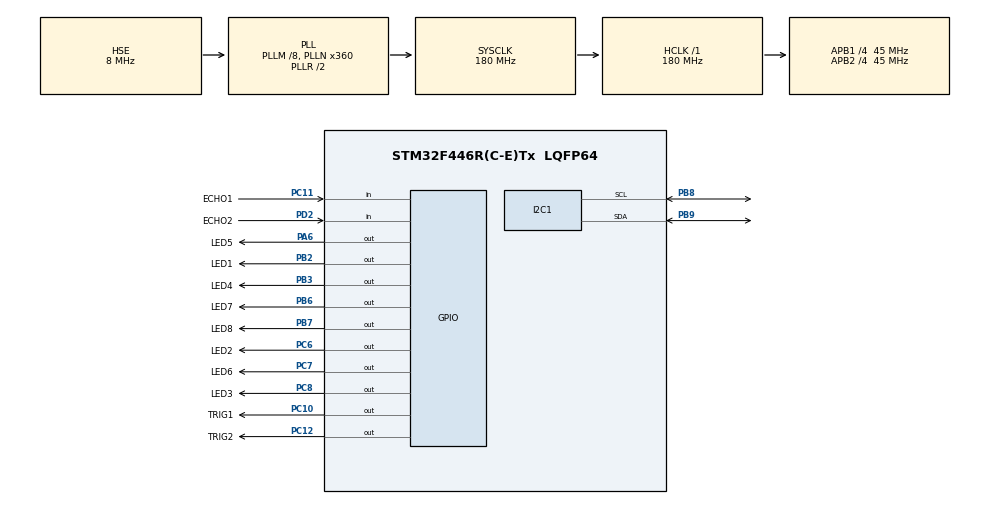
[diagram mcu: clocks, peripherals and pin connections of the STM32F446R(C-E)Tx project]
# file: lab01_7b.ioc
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I2C1.I2C_Mode=I2C_Fast
Mcu.Family=STM32F4
Mcu.Name=STM32F446R(C-E)Tx
Mcu.Package=LQFP64
NVIC.PriorityGroup=NVIC_PRIORITYGROUP_4
PA13.Mode=Serial_Wire
PA13.Signal=SYS_JTMS-SWDIO
PA14.Mode=Serial_Wire
PA14.Signal=SYS_JTCK-SWCLK
PA6.GPIO_Label=LED5
PA6.Signal=GPIO_Output
PB2.GPIO_Label=LED1
PB2.Signal=GPIO_Output
PB3.GPIO_Label=LED4
PB3.Signal=GPIO_Output
PB6.GPIO_Label=LED7
PB6.Signal=GPIO_Output
PB7.GPIO_Label=LED8
PB7.Signal=GPIO_Output
PB8.Mode=I2C
PB8.Signal=I2C1_SCL
PB9.Mode=I2C
PB9.Signal=I2C1_SDA
PC10.GPIO_Label=TRIG1
PC10.Signal=GPIO_Output
PC11.GPIO_Label=ECHO1
PC11.Signal=GPIO_Input
PC12.GPIO_Label=TRIG2
PC12.Signal=GPIO_Output
PC6.GPIO_Label=LED2
PC6.Signal=GPIO_Output
PC7.GPIO_Label=LED6
PC7.Signal=GPIO_Output
PC8.GPIO_Label=LED3
PC8.Signal=GPIO_Output
PD2.GPIO_Label=ECHO2
PD2.Signal=GPIO_Input
PH0-OSC_IN.Mode=HSE-External-Oscillator
PH0-OSC_IN.Signal=RCC_OSC_IN
PH1-OSC_OUT.Mode=HSE-External-Oscillator
PH1-OSC_OUT.Signal=RCC_OSC_OUT
ProjectManager.HeapSize=0x200
ProjectManager.StackSize=0x400
ProjectManager.TargetToolchain=STM32CubeIDE
RCC.AHBFreq_Value=180000000
RCC.APB1CLKDivider=RCC_HCLK_DIV4
RCC.APB1Freq_Value=45000000
RCC.APB1TimFreq_Value=90000000
RCC.APB2CLKDivider=RCC_HCLK_DIV4
RCC.APB2Freq_Value=45000000
RCC.APB2TimFreq_Value=90000000
RCC.CortexFreq_Value=180000000
RCC.HCLKFreq_Value=180000000
RCC.HSE_VALUE=8000000
RCC.PLLM=8
RCC.PLLN=360
RCC.PLLSourceVirtual=RCC_PLLSOURCE_HSE
RCC.SYSCLKFreq_VALUE=180000000
RCC.SYSCLKSource=RCC_SYSCLKSOURCE_PLLRCLK
RCC.USBFreq_Value=180000000
RCC.VCOOutputFreq_Value=360000000
TIM2.AutoReloadPreload=TIM_AUTORELOAD_PRELOAD_ENABLE
TIM2.Prescaler=90-1
VP_TIM2_VS_ClockSourceINT.Mode=Internal
board=custom

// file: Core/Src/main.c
/* USER CODE BEGIN Header */
/**
  ******************************************************************************
  * @file           : main.c
  * @brief          : Main program body
  ******************************************************************************
  * @attention
  *
  * Copyright (c) 2026 STMicroelectronics.
  * All rights reserved.
  *
  * This software is licensed under terms that can be found in the LICENSE file
  * in the root directory of this software component.
  * If no LICENSE file comes with this software, it is provided AS-IS.
  *
  ******************************************************************************
  */
/* USER CODE END Header */
#include "main.h"

/* USER CODE BEGIN Includes */
#include <stdio.h>
#include <string.h>
#include "ssd1306.h"
/* USER CODE END Includes */

I2C_HandleTypeDef hi2c1;

TIM_HandleTypeDef htim2;

/* USER CODE BEGIN PV */
GPIO_TypeDef *ledPort[2][4] = {{GPIOB,GPIOC,GPIOC,GPIOB},
							   {GPIOA,GPIOC,GPIOB,GPIOB}};
int ledGPIO[2][4] = {{GPIO_PIN_2,GPIO_PIN_6,GPIO_PIN_8,GPIO_PIN_3},
			 	 	 {GPIO_PIN_6,GPIO_PIN_7,GPIO_PIN_6,GPIO_PIN_7}};

GPIO_TypeDef *UP_trig[2] = {GPIOC,GPIOC};
GPIO_TypeDef *UP_echo[2] = {GPIOD,GPIOC};
uint16_t trig[2] = {GPIO_PIN_12,GPIO_PIN_10};
uint16_t echo[2] = {GPIO_PIN_2,GPIO_PIN_11};
/* USER CODE END PV */

void SystemClock_Config(void);
static void MX_GPIO_Init(void);
static void MX_TIM2_Init(void);
static void MX_I2C1_Init(void);

/* USER CODE BEGIN 0 */
void clearTimer(){
	__HAL_TIM_SetCounter(&htim2,0);
}

uint32_t getTimer(){
	return __HAL_TIM_GetCounter(&htim2);
}

void uDelay(uint32_t us){
	uint32_t start;
	uint32_t finish = (start =__HAL_TIM_GetCounter(&htim2)) + us;
	if(start > finish){
		while(__HAL_TIM_GetCounter(&htim2)>start); // wait until it overruns
	}
	while(__HAL_TIM_GetCounter(&htim2)<finish);
}

int ultraSonic(int no){
	int timeout;
	uint32_t clock1,clock2;
	clearTimer();
	HAL_GPIO_WritePin(UP_trig[no],trig[no],1);
	uDelay(10);
	HAL_GPIO_WritePin(UP_trig[no],trig[no],0);

	for(timeout=0;(timeout<1000)&&(!HAL_GPIO_ReadPin(UP_echo[no],echo[no]));timeout++) uDelay(10);
	clock1 = getTimer();
	if(timeout>=1000)return -1;

	for(timeout=0;(timeout<1000)&&(HAL_GPIO_ReadPin(UP_echo[no],echo[no]));timeout++) uDelay(10);
	clock2 = getTimer();
	if(timeout>=1000)return -1;

	return clock2-clock1;
}

void ledBar(int no){
	// Translate into 0 fartest and 1000 - nearest
	char msg[32];
	int i;
	int ul = ultraSonic(no);

	if(ul<0) return;
	if(ul>10000) return; //Max distance reach
	sprintf(msg,"S%d:%5d",no+1,ul);
	ssd1306_SetCursor(0,no*15);
	ssd1306_WriteString(msg,Font_7x10,White);

	int len = 1200-ul;
	if(len<0) len=0;
	if(len>1200) return; //error detected

	len/=200;  // reduce into 0 to 5

	if(len>4) len = 4;

	for(i=0;i<len;i++){
		HAL_GPIO_WritePin(ledPort[no][i],ledGPIO[no][i],1);
	}
	for(;i<4;i++){
		HAL_GPIO_WritePin(ledPort[no][i],ledGPIO[no][i],0);
	}
}
/* USER CODE END 0 */

int main(void)
{

  /* MCU Configuration--------------------------------------------------------*/

  /* Reset of all peripherals, Initializes the Flash interface and the Systick. */
  HAL_Init();

  /* Configure the system clock */
  SystemClock_Config();

  /* Initialize all configured peripherals */
  MX_GPIO_Init();
  MX_TIM2_Init();
  MX_I2C1_Init();
  /* USER CODE BEGIN 2 */
  HAL_TIM_Base_Start(&htim2);
  //Set Trigger port to 0
  HAL_GPIO_WritePin(UP_trig[0],trig[0],0);
  HAL_GPIO_WritePin(UP_trig[1],trig[1],0);

  ssd1306_Init();
  /* USER CODE END 2 */

  /* Infinite loop */
  /* USER CODE BEGIN WHILE */
  while (1)
  {
	  ssd1306_Fill(Black);
	  ledBar(0);
	  ledBar(1);
	  ssd1306_UpdateScreen();
	  HAL_Delay(100);
    /* USER CODE END WHILE */

  }
}

void SystemClock_Config(void)
{
  RCC_OscInitTypeDef RCC_OscInitStruct = {0};
  RCC_ClkInitTypeDef RCC_ClkInitStruct = {0};

  /** Configure the main internal regulator output voltage
  */
  __HAL_RCC_PWR_CLK_ENABLE();
  __HAL_PWR_VOLTAGESCALING_CONFIG(PWR_REGULATOR_VOLTAGE_SCALE1);

  /** Initializes the RCC Oscillators according to the specified parameters
  * in the RCC_OscInitTypeDef structure.
  */
  RCC_OscInitStruct.OscillatorType = RCC_OSCILLATORTYPE_HSE;
  RCC_OscInitStruct.HSEState = RCC_HSE_ON;
  RCC_OscInitStruct.PLL.PLLState = RCC_PLL_ON;
  RCC_OscInitStruct.PLL.PLLSource = RCC_PLLSOURCE_HSE;
  RCC_OscInitStruct.PLL.PLLM = 8;
  RCC_OscInitStruct.PLL.PLLN = 360;
  RCC_OscInitStruct.PLL.PLLP = RCC_PLLP_DIV2;
  RCC_OscInitStruct.PLL.PLLQ = 2;
  RCC_OscInitStruct.PLL.PLLR = 2;
  if (HAL_RCC_OscConfig(&RCC_OscInitStruct) != HAL_OK)
  {
    Error_Handler();
  }

  /** Activate the Over-Drive mode
  */
  if (HAL_PWREx_EnableOverDrive() != HAL_OK)
  {
    Error_Handler();
  }

  /** Initializes the CPU, AHB and APB buses clocks
  */
  RCC_ClkInitStruct.ClockType = RCC_CLOCKTYPE_HCLK|RCC_CLOCKTYPE_SYSCLK
                              |RCC_CLOCKTYPE_PCLK1|RCC_CLOCKTYPE_PCLK2;
  RCC_ClkInitStruct.SYSCLKSource = RCC_SYSCLKSOURCE_PLLRCLK;
  RCC_ClkInitStruct.AHBCLKDivider = RCC_SYSCLK_DIV1;
  RCC_ClkInitStruct.APB1CLKDivider = RCC_HCLK_DIV4;
  RCC_ClkInitStruct.APB2CLKDivider = RCC_HCLK_DIV4;

  if (HAL_RCC_ClockConfig(&RCC_ClkInitStruct, FLASH_LATENCY_5) != HAL_OK)
  {
    Error_Handler();
  }
}

static void MX_I2C1_Init(void)
{

  hi2c1.Instance = I2C1;
  hi2c1.Init.ClockSpeed = 400000;
  hi2c1.Init.DutyCycle = I2C_DUTYCYCLE_2;
  hi2c1.Init.OwnAddress1 = 0;
  hi2c1.Init.AddressingMode = I2C_ADDRESSINGMODE_7BIT;
  hi2c1.Init.DualAddressMode = I2C_DUALADDRESS_DISABLE;
  hi2c1.Init.OwnAddress2 = 0;
  hi2c1.Init.GeneralCallMode = I2C_GENERALCALL_DISABLE;
  hi2c1.Init.NoStretchMode = I2C_NOSTRETCH_DISABLE;
  if (HAL_I2C_Init(&hi2c1) != HAL_OK)
  {
    Error_Handler();
  }

}

static void MX_TIM2_Init(void)
{

  TIM_ClockConfigTypeDef sClockSourceConfig = {0};
  TIM_MasterConfigTypeDef sMasterConfig = {0};

  htim2.Instance = TIM2;
  htim2.Init.Prescaler = 90-1;
  htim2.Init.CounterMode = TIM_COUNTERMODE_UP;
  htim2.Init.Period = 4294967295;
  htim2.Init.ClockDivision = TIM_CLOCKDIVISION_DIV1;
  htim2.Init.AutoReloadPreload = TIM_AUTORELOAD_PRELOAD_ENABLE;
  if (HAL_TIM_Base_Init(&htim2) != HAL_OK)
  {
    Error_Handler();
  }
  sClockSourceConfig.ClockSource = TIM_CLOCKSOURCE_INTERNAL;
  if (HAL_TIM_ConfigClockSource(&htim2, &sClockSourceConfig) != HAL_OK)
  {
    Error_Handler();
  }
  sMasterConfig.MasterOutputTrigger = TIM_TRGO_RESET;
  sMasterConfig.MasterSlaveMode = TIM_MASTERSLAVEMODE_DISABLE;
  if (HAL_TIMEx_MasterConfigSynchronization(&htim2, &sMasterConfig) != HAL_OK)
  {
    Error_Handler();
  }

}

static void MX_GPIO_Init(void)
{
  GPIO_InitTypeDef GPIO_InitStruct = {0};

  /* GPIO Ports Clock Enable */
  __HAL_RCC_GPIOH_CLK_ENABLE();
  __HAL_RCC_GPIOA_CLK_ENABLE();
  __HAL_RCC_GPIOB_CLK_ENABLE();
  __HAL_RCC_GPIOC_CLK_ENABLE();
  __HAL_RCC_GPIOD_CLK_ENABLE();

  /*Configure GPIO pin Output Level */
  HAL_GPIO_WritePin(LED5_GPIO_Port, LED5_Pin, GPIO_PIN_RESET);

  /*Configure GPIO pin Output Level */
  HAL_GPIO_WritePin(GPIOB, LED1_Pin|LED4_Pin|LED7_Pin|LED8_Pin, GPIO_PIN_RESET);

  /*Configure GPIO pin Output Level */
  HAL_GPIO_WritePin(GPIOC, LED2_Pin|LED6_Pin|LED3_Pin|TRIG1_Pin
                          |TRIG2_Pin, GPIO_PIN_RESET);

  /*Configure GPIO pin : LED5_Pin */
  GPIO_InitStruct.Pin = LED5_Pin;
  GPIO_InitStruct.Mode = GPIO_MODE_OUTPUT_PP;
  GPIO_InitStruct.Pull = GPIO_NOPULL;
  GPIO_InitStruct.Speed = GPIO_SPEED_FREQ_LOW;
  HAL_GPIO_Init(LED5_GPIO_Port, &GPIO_InitStruct);

  /*Configure GPIO pins : LED1_Pin LED4_Pin LED7_Pin LED8_Pin */
  GPIO_InitStruct.Pin = LED1_Pin|LED4_Pin|LED7_Pin|LED8_Pin;
  GPIO_InitStruct.Mode = GPIO_MODE_OUTPUT_PP;
  GPIO_InitStruct.Pull = GPIO_NOPULL;
  GPIO_InitStruct.Speed = GPIO_SPEED_FREQ_LOW;
  HAL_GPIO_Init(GPIOB, &GPIO_InitStruct);

  /*Configure GPIO pins : LED2_Pin LED6_Pin LED3_Pin TRIG1_Pin
                           TRIG2_Pin */
  GPIO_InitStruct.Pin = LED2_Pin|LED6_Pin|LED3_Pin|TRIG1_Pin
                          |TRIG2_Pin;
  GPIO_InitStruct.Mode = GPIO_MODE_OUTPUT_PP;
  GPIO_InitStruct.Pull = GPIO_NOPULL;
  GPIO_InitStruct.Speed = GPIO_SPEED_FREQ_LOW;
  HAL_GPIO_Init(GPIOC, &GPIO_InitStruct);

  /*Configure GPIO pin : ECHO1_Pin */
  GPIO_InitStruct.Pin = ECHO1_Pin;
  GPIO_InitStruct.Mode = GPIO_MODE_INPUT;
  GPIO_InitStruct.Pull = GPIO_NOPULL;
  HAL_GPIO_Init(ECHO1_GPIO_Port, &GPIO_InitStruct);

  /*Configure GPIO pin : ECHO2_Pin */
  GPIO_InitStruct.Pin = ECHO2_Pin;
  GPIO_InitStruct.Mode = GPIO_MODE_INPUT;
  GPIO_InitStruct.Pull = GPIO_NOPULL;
  HAL_GPIO_Init(ECHO2_GPIO_Port, &GPIO_InitStruct);

}

void Error_Handler(void)
{
  __disable_irq();
  while (1)
  {
  }
}
